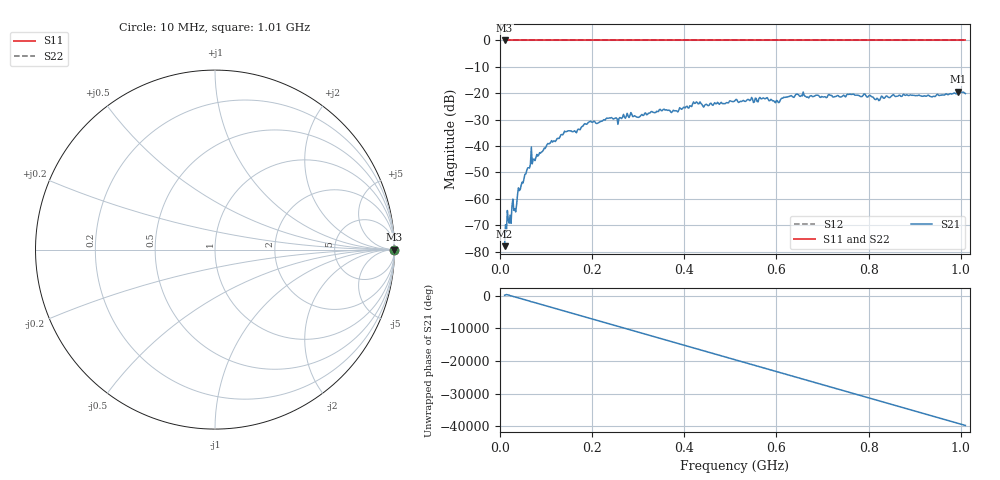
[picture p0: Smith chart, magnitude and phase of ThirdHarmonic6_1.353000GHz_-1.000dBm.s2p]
! 8/16/2025 3:14:40 PM
! C:\ANRITSUVNA\TEMP\TEMP.S2P
! CHANNEL.1
! TR.MEASUREMENT
! RAW.DATA
! RF.CORRECTION.OFF
! AVERAGING.OFF
! IF.BANDWIDTH: 5KHZ
! SWEEPTYPE:  FREQ.SWEEP(Linear)
! Reference Plane Port Info
! PORT:  PORT1  PORT2
! DISTANCE:  0  m  0  m
! TIME:  0  s  0  s
! PHASE.OFFSET:  0  deg.  0  deg.
! LOSS:  0  dB  0  dB
! REF.LOSS:  0  dB  0  dB
! REF.FREQ:  0  Hz  0  Hz
! Power Info
! POWER:  -20  dBm  -20  dBm
! EFF.POWER:  -20  dBm  -20  dBm
! SOURCE.ATTEN:  0  dB  0  dB
! TEST.ATTEN:  0  dB  0  dB
# GHZ S RI R 50.0
! FREQ.GHZ  S11RE  S11IM  S21RE  S21IM  S12RE  S12IM  S22RE  S22IM
!; PortSelection: Port_12
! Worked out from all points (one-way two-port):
!   501 points, 10 MHz to 1.01 GHz, reference 50 ohm
!   highest |S21| = -19.44 dB at 994 MHz (marker M1); lowest = -77.9 dB at 10 MHz (marker M2)
!   lowest |S11| = 0.0 dB at 10 MHz (marker M3)
!   |S11| at or under -10 dB: nowhere
!   |S22| runs from 0.0 to 0.0 dB; largest |S21 - S12| = 1.1
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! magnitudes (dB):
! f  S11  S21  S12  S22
! 10 MHz  0.0  -77.9  0.0  0.0
! 16 MHz  0.0  -64.4  0.0  0.0
! 34 MHz  0.0  -64.9  0.0  0.0
! 42 MHz  0.0  -56.9  0.0  0.0
! 70 MHz  0.0  -46.7  0.0  0.0
! 142 MHz  0.0  -34.6  0.0  0.0
! 178 MHz  0.0  -32.6  0.0  0.0
! 196 MHz  0.0  -30.6  0.0  0.0
! 280 MHz  0.0  -29.2  0.0  0.0
! 300 MHz  0.0  -29.1  0.0  0.0
! 344 MHz  0.0  -26.9  0.0  0.0
! 384 MHz  0.0  -26.8  0.0  0.0
! 424 MHz  0.0  -23.8  0.0  0.0
! 444 MHz  0.0  -24.6  0.0  0.0
! 510 MHz  0.0  -22.8  0.0  0.0
! 576 MHz  0.0  -22.1  0.0  0.0
! 602 MHz  0.0  -22.9  0.0  0.0
! 644 MHz  0.0  -20.4  0.0  0.0
! 678 MHz  0.0  -21.3  0.0  0.0
! 844 MHz  0.0  -21.6  0.0  0.0
! 994 MHz  0.0  -19.4  0.0  0.0
! 1.01 GHz  0.0  -20.1  0.0  0.0
